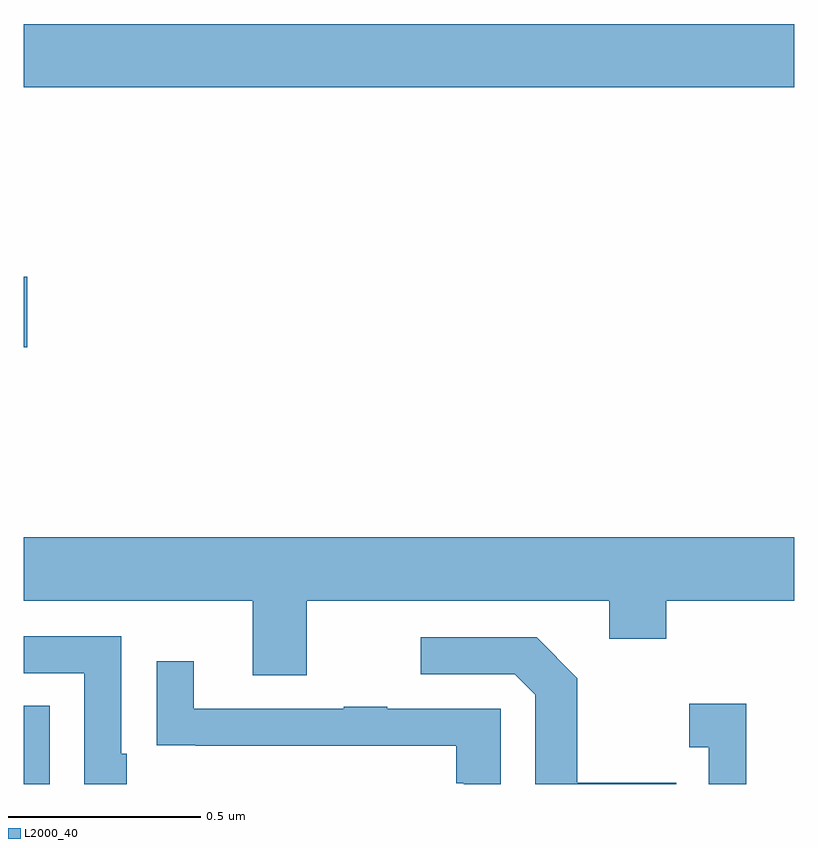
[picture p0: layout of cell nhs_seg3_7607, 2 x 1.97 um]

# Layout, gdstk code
import gdstk
lib = gdstk.Library(unit=1e-6, precision=1e-09)
def R(c, l, rs):  # rectangles x0, y0, x1, y1
    for r in rs: c.add(gdstk.rectangle(r[:2], r[2:], *l))
def P(c, l, *ps):  # polygons
    for p in ps: c.add(gdstk.Polygon(p, *l))
L2000_40 = (2000, 40)

nhs_seg3_7607 = lib.new_cell('nhs_seg3_7607')
R(nhs_seg3_7607, L2000_40, [(205,740.4,205.068,740.603), (205,741.533,205.009,741.716), (205,742.208,207,742.372)])
P(nhs_seg3_7607, L2000_40, [(205.735,740.876),(206.519,740.876),(206.519,740.777),(206.667,740.777),(206.667,740.876),(207,740.876),(207,741.04),(205,741.04),(205,740.876),(205.595,740.876),(205.595,740.682),(205.735,740.682)],
  [(205.267,740.479),(205.254,740.479),(205.254,740.784),(205,740.784),(205,740.688),(205.158,740.688),(205.158,740.4),(205.267,740.4)],
  [(206.693,740.403),(206.437,740.403),(206.437,740.675),(206.331,740.781),(206.031,740.781),(206.031,740.685),(206.274,740.685),(206.328,740.631),(206.328,740.4),(206.693,740.4)],
  [(206.238,740.595),(205.943,740.595),(205.943,740.6),(205.831,740.6),(205.831,740.595),(205.441,740.595),(205.441,740.719),(205.345,740.719),(205.345,740.5),(205.447,740.5),(205.447,740.499),(206.122,740.499),(206.122,740.402),(206.142,740.402),(206.142,740.4),(206.238,740.4)],
  [(206.875,740.608),(206.727,740.608),(206.727,740.495),(206.778,740.495),(206.778,740.4),(206.875,740.4)])

lib.write_gds('nhs_seg3_7607.gds')
